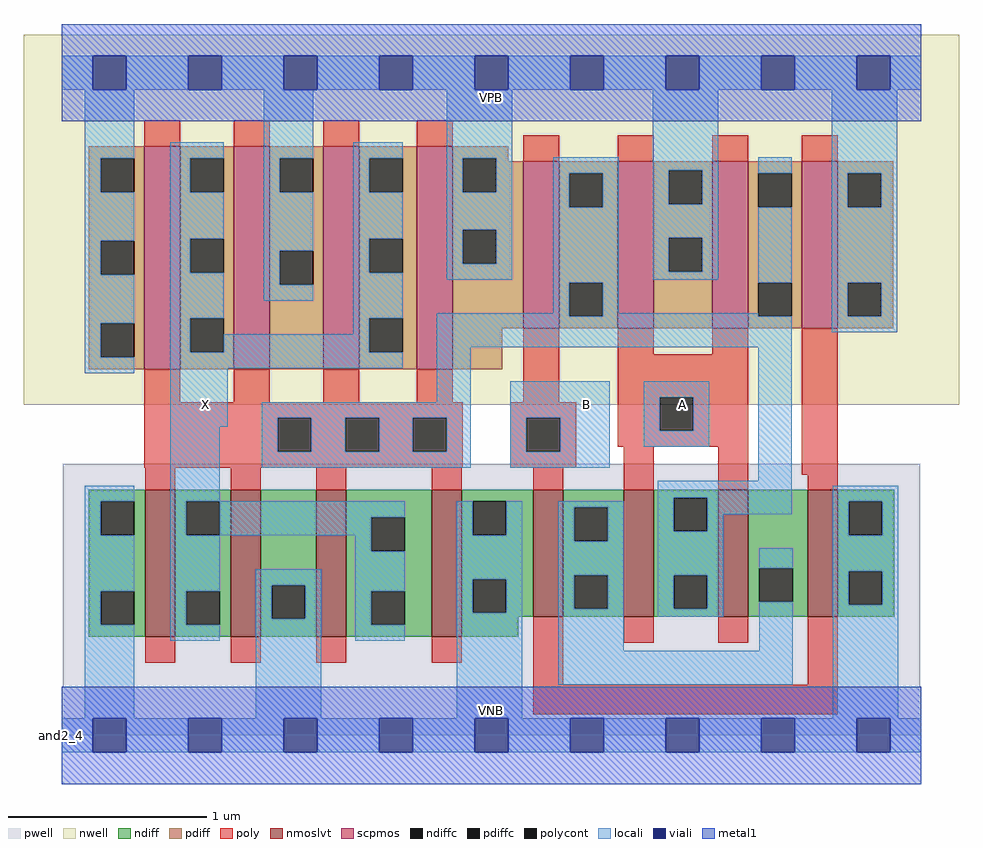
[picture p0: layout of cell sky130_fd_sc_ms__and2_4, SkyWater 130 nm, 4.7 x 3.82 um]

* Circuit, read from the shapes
.subckt sky130_fd_sc_ms__and2_4 A B VGND VNB VPB VPWR X
XM1 X n1 VGND VNB sky130_fd_pr__nfet_01v8_lvt w=0.74 l=0.15 m=4
XM2 n2 B VGND VNB sky130_fd_pr__nfet_01v8_lvt w=0.64 l=0.15 m=2
XM3 n1 A n2 VNB sky130_fd_pr__nfet_01v8_lvt w=0.64 l=0.15 m=2
XM4 X n1 VPWR VPB sky130_fd_pr__pfet_01v8 w=1.12 l=0.18 m=4
XM5 n1 B VPWR VPB sky130_fd_pr__pfet_01v8 w=0.84 l=0.18 m=2
XM6 VPWR A n1 VPB sky130_fd_pr__pfet_01v8 w=0.84 l=0.18 m=2
.ends

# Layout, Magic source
magic
tech sky130A
magscale 1 2
<< nwell >>
rect -38 332 902 704
<< pwell >>
rect 1 49 863 273
rect 0 0 864 49
<< scpmos >>
rect 83 368 119 592
rect 173 368 209 592
rect 263 368 299 592
rect 357 368 393 592
rect 464 409 500 577
rect 559 409 595 577
rect 654 409 690 577
rect 744 409 780 577
<< nmoslvt >>
rect 84 99 114 247
rect 170 99 200 247
rect 256 99 286 247
rect 372 99 402 247
rect 474 119 504 247
rect 565 119 595 247
rect 660 119 690 247
rect 750 119 780 247
<< ndiff >>
rect 27 235 84 247
rect 27 201 39 235
rect 73 201 84 235
rect 27 145 84 201
rect 27 111 39 145
rect 73 111 84 145
rect 27 99 84 111
rect 114 235 170 247
rect 114 201 125 235
rect 159 201 170 235
rect 114 145 170 201
rect 114 111 125 145
rect 159 111 170 145
rect 114 99 170 111
rect 200 151 256 247
rect 200 117 211 151
rect 245 117 256 151
rect 200 99 256 117
rect 286 219 372 247
rect 286 185 311 219
rect 345 185 372 219
rect 286 145 372 185
rect 286 111 311 145
rect 345 111 372 145
rect 286 99 372 111
rect 402 235 474 247
rect 402 201 413 235
rect 447 201 474 235
rect 402 157 474 201
rect 402 123 413 157
rect 447 123 474 157
rect 402 119 474 123
rect 504 229 565 247
rect 504 195 515 229
rect 549 195 565 229
rect 504 161 565 195
rect 504 127 515 161
rect 549 127 565 161
rect 504 119 565 127
rect 595 239 660 247
rect 595 205 615 239
rect 649 205 660 239
rect 595 161 660 205
rect 595 127 615 161
rect 649 127 660 161
rect 595 119 660 127
rect 690 168 750 247
rect 690 134 701 168
rect 735 134 750 168
rect 690 119 750 134
rect 780 235 837 247
rect 780 201 791 235
rect 825 201 837 235
rect 780 165 837 201
rect 780 131 791 165
rect 825 131 837 165
rect 780 119 837 131
rect 402 99 459 119
<< pdiff >>
rect 27 580 83 592
rect 27 546 39 580
rect 73 546 83 580
rect 27 497 83 546
rect 27 463 39 497
rect 73 463 83 497
rect 27 414 83 463
rect 27 380 39 414
rect 73 380 83 414
rect 27 368 83 380
rect 119 580 173 592
rect 119 546 129 580
rect 163 546 173 580
rect 119 499 173 546
rect 119 465 129 499
rect 163 465 173 499
rect 119 419 173 465
rect 119 385 129 419
rect 163 385 173 419
rect 119 368 173 385
rect 209 580 263 592
rect 209 546 219 580
rect 253 546 263 580
rect 209 487 263 546
rect 209 453 219 487
rect 253 453 263 487
rect 209 368 263 453
rect 299 580 357 592
rect 299 546 309 580
rect 343 546 357 580
rect 299 499 357 546
rect 299 465 309 499
rect 343 465 357 499
rect 299 419 357 465
rect 299 385 309 419
rect 343 385 357 419
rect 299 368 357 385
rect 393 580 449 592
rect 393 546 403 580
rect 437 577 449 580
rect 437 546 464 577
rect 393 508 464 546
rect 393 474 403 508
rect 437 474 464 508
rect 393 409 464 474
rect 500 565 559 577
rect 500 531 510 565
rect 544 531 559 565
rect 500 455 559 531
rect 500 421 510 455
rect 544 421 559 455
rect 500 409 559 421
rect 595 568 654 577
rect 595 534 610 568
rect 644 534 654 568
rect 595 500 654 534
rect 595 466 610 500
rect 644 466 654 500
rect 595 409 654 466
rect 690 565 744 577
rect 690 531 700 565
rect 734 531 744 565
rect 690 455 744 531
rect 690 421 700 455
rect 734 421 744 455
rect 690 409 744 421
rect 780 565 836 577
rect 780 531 790 565
rect 824 531 836 565
rect 780 455 836 531
rect 780 421 790 455
rect 824 421 836 455
rect 780 409 836 421
rect 393 368 443 409
<< ndiffc >>
rect 39 201 73 235
rect 39 111 73 145
rect 125 201 159 235
rect 125 111 159 145
rect 211 117 245 151
rect 311 185 345 219
rect 311 111 345 145
rect 413 201 447 235
rect 413 123 447 157
rect 515 195 549 229
rect 515 127 549 161
rect 615 205 649 239
rect 615 127 649 161
rect 701 134 735 168
rect 791 201 825 235
rect 791 131 825 165
<< pdiffc >>
rect 39 546 73 580
rect 39 463 73 497
rect 39 380 73 414
rect 129 546 163 580
rect 129 465 163 499
rect 129 385 163 419
rect 219 546 253 580
rect 219 453 253 487
rect 309 546 343 580
rect 309 465 343 499
rect 309 385 343 419
rect 403 546 437 580
rect 403 474 437 508
rect 510 531 544 565
rect 510 421 544 455
rect 610 534 644 568
rect 610 466 644 500
rect 700 531 734 565
rect 700 421 734 455
rect 790 531 824 565
rect 790 421 824 455
<< poly >>
rect 83 592 119 618
rect 173 592 209 618
rect 263 592 299 618
rect 357 592 393 618
rect 464 577 500 603
rect 559 577 595 603
rect 654 577 690 603
rect 744 577 780 603
rect 83 335 119 368
rect 173 335 209 368
rect 263 335 299 368
rect 357 335 393 368
rect 464 335 500 409
rect 559 383 595 409
rect 654 383 690 409
rect 559 340 690 383
rect 83 319 403 335
rect 83 285 217 319
rect 251 285 285 319
rect 319 285 353 319
rect 387 285 403 319
rect 83 269 403 285
rect 451 319 517 335
rect 451 285 467 319
rect 501 285 517 319
rect 559 306 601 340
rect 635 306 690 340
rect 559 290 690 306
rect 451 269 517 285
rect 84 247 114 269
rect 170 247 200 269
rect 256 247 286 269
rect 372 247 402 269
rect 474 247 504 269
rect 565 247 595 290
rect 660 247 690 290
rect 744 262 780 409
rect 750 247 780 262
rect 84 73 114 99
rect 170 73 200 99
rect 256 73 286 99
rect 372 73 402 99
rect 474 51 504 119
rect 565 93 595 119
rect 660 93 690 119
rect 750 51 780 119
rect 474 21 780 51
<< polycont >>
rect 217 285 251 319
rect 285 285 319 319
rect 353 285 387 319
rect 467 285 501 319
rect 601 306 635 340
<< locali >>
rect 0 649 31 683
rect 65 649 127 683
rect 161 649 223 683
rect 257 649 319 683
rect 353 649 415 683
rect 449 649 511 683
rect 545 649 607 683
rect 641 649 703 683
rect 737 649 799 683
rect 833 649 864 683
rect 23 580 73 649
rect 23 546 39 580
rect 23 497 73 546
rect 23 463 39 497
rect 23 414 73 463
rect 23 380 39 414
rect 23 364 73 380
rect 109 580 163 596
rect 109 546 129 580
rect 109 499 163 546
rect 109 465 129 499
rect 109 419 163 465
rect 203 580 253 649
rect 203 546 219 580
rect 203 487 253 546
rect 203 453 219 487
rect 203 437 253 453
rect 293 580 343 596
rect 293 546 309 580
rect 293 499 343 546
rect 293 465 309 499
rect 109 385 129 419
rect 293 419 343 465
rect 387 580 453 649
rect 387 546 403 580
rect 437 546 453 580
rect 387 508 453 546
rect 387 474 403 508
rect 437 474 453 508
rect 387 458 453 474
rect 494 565 560 581
rect 494 531 510 565
rect 544 531 560 565
rect 494 455 560 531
rect 594 568 660 649
rect 594 534 610 568
rect 644 534 660 568
rect 594 500 660 534
rect 594 466 610 500
rect 644 466 660 500
rect 594 458 660 466
rect 700 565 734 581
rect 494 424 510 455
rect 293 403 309 419
rect 163 385 309 403
rect 109 369 343 385
rect 377 421 510 424
rect 544 424 560 455
rect 700 455 734 531
rect 544 421 700 424
rect 377 390 734 421
rect 774 565 840 649
rect 774 531 790 565
rect 824 531 840 565
rect 774 455 840 531
rect 774 421 790 455
rect 824 421 840 455
rect 774 405 840 421
rect 109 310 167 369
rect 377 335 411 390
rect 201 319 411 335
rect 23 235 73 251
rect 23 201 39 235
rect 23 145 73 201
rect 23 111 39 145
rect 23 17 73 111
rect 109 235 159 310
rect 201 285 217 319
rect 251 285 285 319
rect 319 285 353 319
rect 387 285 411 319
rect 201 269 411 285
rect 451 319 551 356
rect 451 285 467 319
rect 501 285 551 319
rect 585 340 651 356
rect 585 306 601 340
rect 635 306 651 340
rect 585 290 651 306
rect 451 269 551 285
rect 700 256 734 390
rect 599 239 734 256
rect 109 201 125 235
rect 159 219 345 235
rect 159 201 311 219
rect 109 145 159 201
rect 295 185 311 201
rect 109 111 125 145
rect 109 95 159 111
rect 195 151 261 167
rect 195 117 211 151
rect 245 117 261 151
rect 195 17 261 117
rect 295 145 345 185
rect 295 111 311 145
rect 295 95 345 111
rect 397 201 413 235
rect 447 201 463 235
rect 397 157 463 201
rect 397 123 413 157
rect 447 123 463 157
rect 397 17 463 123
rect 499 229 565 235
rect 499 195 515 229
rect 549 195 565 229
rect 499 161 565 195
rect 499 127 515 161
rect 549 127 565 161
rect 499 85 565 127
rect 599 205 615 239
rect 649 222 734 239
rect 775 235 841 251
rect 649 205 665 222
rect 599 161 665 205
rect 775 201 791 235
rect 825 201 841 235
rect 599 127 615 161
rect 649 127 665 161
rect 599 119 665 127
rect 701 168 735 188
rect 701 85 735 134
rect 499 51 735 85
rect 775 165 841 201
rect 775 131 791 165
rect 825 131 841 165
rect 775 17 841 131
rect 0 -17 31 17
rect 65 -17 127 17
rect 161 -17 223 17
rect 257 -17 319 17
rect 353 -17 415 17
rect 449 -17 511 17
rect 545 -17 607 17
rect 641 -17 703 17
rect 737 -17 799 17
rect 833 -17 864 17
<< viali >>
rect 31 649 65 683
rect 127 649 161 683
rect 223 649 257 683
rect 319 649 353 683
rect 415 649 449 683
rect 511 649 545 683
rect 607 649 641 683
rect 703 649 737 683
rect 799 649 833 683
rect 31 -17 65 17
rect 127 -17 161 17
rect 223 -17 257 17
rect 319 -17 353 17
rect 415 -17 449 17
rect 511 -17 545 17
rect 607 -17 641 17
rect 703 -17 737 17
rect 799 -17 833 17
<< metal1 >>
rect 0 683 864 715
rect 0 649 31 683
rect 65 649 127 683
rect 161 649 223 683
rect 257 649 319 683
rect 353 649 415 683
rect 449 649 511 683
rect 545 649 607 683
rect 641 649 703 683
rect 737 649 799 683
rect 833 649 864 683
rect 0 617 864 649
rect 0 17 864 49
rect 0 -17 31 17
rect 65 -17 127 17
rect 161 -17 223 17
rect 257 -17 319 17
rect 353 -17 415 17
rect 449 -17 511 17
rect 545 -17 607 17
rect 641 -17 703 17
rect 737 -17 799 17
rect 833 -17 864 17
rect 0 -49 864 -17
<< labels >>
flabel pwell s 0 0 864 49 0 FreeSans 200 0 0 0 VNB
port 4 nsew ground bidirectional
flabel nwell s 0 617 864 666 0 FreeSans 200 0 0 0 VPB
port 5 nsew power bidirectional
rlabel comment s 0 0 0 0 4 and2_4
flabel metal1 s 0 617 864 666 0 FreeSans 340 0 0 0 VPWR
port 6 nsew power bidirectional
flabel metal1 s 0 0 864 49 0 FreeSans 340 0 0 0 VGND
port 3 nsew ground bidirectional
flabel locali s 127 316 161 350 0 FreeSans 340 0 0 0 X
port 7 nsew signal output
flabel locali s 607 316 641 350 0 FreeSans 340 0 0 0 A
port 1 nsew signal input
flabel locali s 511 316 545 350 0 FreeSans 340 0 0 0 B
port 2 nsew signal input
<< properties >>
string LEFsite unit
string LEFclass CORE
string FIXED_BBOX 0 0 864 666
string GDS_FILE $PDKPATH/libs.ref/sky130_fd_sc_ms/gds/sky130_fd_sc_ms.gds
string LEFsymmetry X Y
string GDS_END 2417308
string GDS_START 2409990
<< end >>
